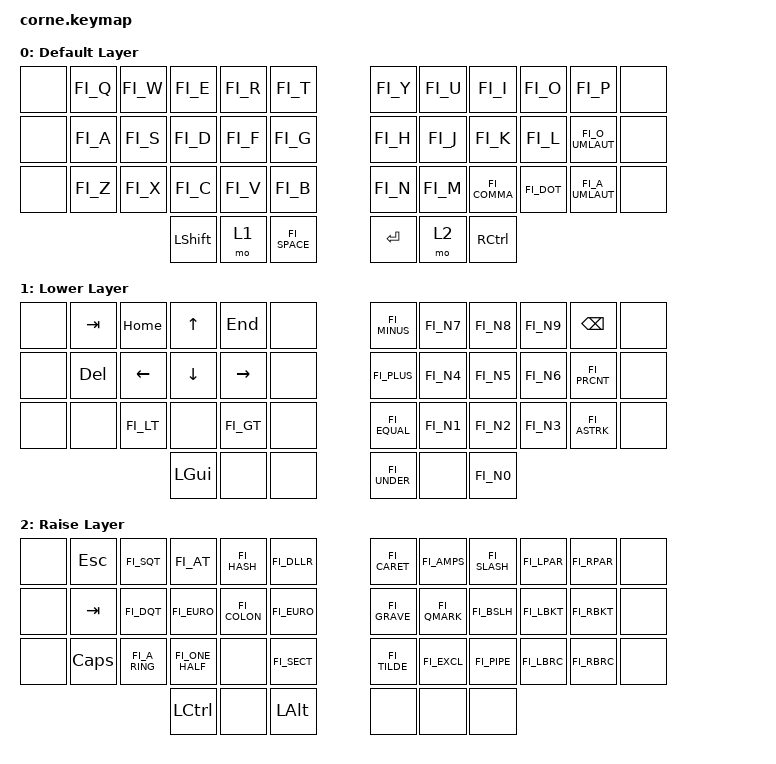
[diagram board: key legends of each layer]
/*
 * Copyright (c) 2020 The ZMK Contributors
 *
 * SPDX-License-Identifier: MIT
 */

#include <behaviors.dtsi>
#include <dt-bindings/zmk/keys.h>
#include <dt-bindings/zmk/bt.h>
#include "keys_fi.h"

/ {
        keymap {
                compatible = "zmk,keymap";

                default_layer {
                        display-name = "Default Layer";
// -----------------------------------------------------------------------------------------
// |  Q  |  W  |  E  |  R  |  T  |                |  Y  |  U   |  I  |  O  |  P  |
// |  A  |  S  |  D  |  F  |  G  |                |  H  |  J   |  K  |  L  |  Ö  |
// |  Z  |  X  |  C  |  V  |  B  |                |  N  |  M   |  ,  |  .  |  Ä  |
//                   |SHFT | LWR | SPC |    | ENT | RSE | CTRL |
// -----------------------------------------------------------------------------------------
                        bindings = <
   &none &kp FI_Q &kp FI_W &kp FI_E &kp FI_R &kp FI_T                 &kp FI_Y &kp FI_U &kp FI_I     &kp FI_O   &kp FI_P           &none 
   &none &kp FI_A &kp FI_S &kp FI_D &kp FI_F &kp FI_G                 &kp FI_H &kp FI_J &kp FI_K     &kp FI_L   &kp FI_O_UMLAUT &none 
   &none &kp FI_Z &kp FI_X &kp FI_C &kp FI_V &kp FI_B                 &kp FI_N &kp FI_M &kp FI_COMMA &kp FI_DOT &kp FI_A_UMLAUT &none 
               &kp LSHFT  &mo 1 &kp FI_SPACE          &kp RET &mo 2 &kp RCTRL
                        >;
                };
                lower_layer {
                        display-name = "Lower Layer";
// -----------------------------------------------------------------------------------------
// | INS | HME |  UP  | END |  x  |                 |  -  |  7  |  8  |  9  | BSPC |
// | DEL | LFT |  DWN | RGT |  x  |                 |  +  |  4  |  5  |  6  |  %   |
// |  x  |  <  |   x  |  >  |  x  |                 |  =  |  1  |  2  |  3  |  *   |
//                    | GUI |  x  |  x  |     |  _  |  x  |  0   |
// -----------------------------------------------------------------------------------------
                        bindings = <
   &none  &kp TAB &kp HOME &kp UP   &kp END   &none       &kp FI_MINUS &kp FI_N7 &kp FI_N8 &kp FI_N9 &kp BSPC  &none 
   &none  &kp DEL &kp LEFT &kp DOWN &kp RIGHT &none       &kp FI_PLUS  &kp FI_N4 &kp FI_N5 &kp FI_N6 &kp FI_PRCNT &none 
   &none  &none   &kp FI_LT   &none    &kp FI_GT    &none       &kp FI_EQUAL &kp FI_N1 &kp FI_N2 &kp FI_N3 &kp FI_ASTRK &none 
                  &kp LGUI &none    &none                 &kp FI_UNDER &none &kp FI_N0
                        >;
                };

                raise_layer {
                        display-name = "Raise Layer";
// -----------------------------------------------------------------------------------------
// |  ESC |  '  |  @  |  #   |  $  |               |  ^  |  &  |  /  |  (  |  )  |
// |  TAB |  "  |  ;  |  :   |  €  |               |  `  |  ?  |  \  |  [  |  ]  |
// | CAPS |  Å  |  x  |  ½   |  §  |               |  ~  |  !  | "|" |  {  |  }  |
//                    | CTRL |  x  | ALT |   |  x  |  x  |  x  |
// -----------------------------------------------------------------------------------------
                        bindings = <
   &none &kp ESC  &kp FI_SQT       &kp FI_AT          &kp FI_HASH  &kp FI_DLLR                &kp FI_CARET &kp FI_AMPS  &kp FI_SLASH &kp FI_LPAR &kp FI_RPAR &none
   &none &kp TAB  &kp FI_DQT       &kp FI_EURO     &kp FI_COLON &kp FI_EURO               &kp FI_GRAVE &kp FI_QMARK &kp FI_BSLH  &kp FI_LBKT &kp FI_RBKT &none
   &none &kp CAPS &kp FI_A_RING &kp FI_ONE_HALF &none     &kp FI_SECT             &kp FI_TILDE &kp FI_EXCL  &kp FI_PIPE  &kp FI_LBRC &kp FI_RBRC &none
                                &kp LCTRL &none &kp LALT                       &none      &none     &none
                        >;
                };
        };
};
